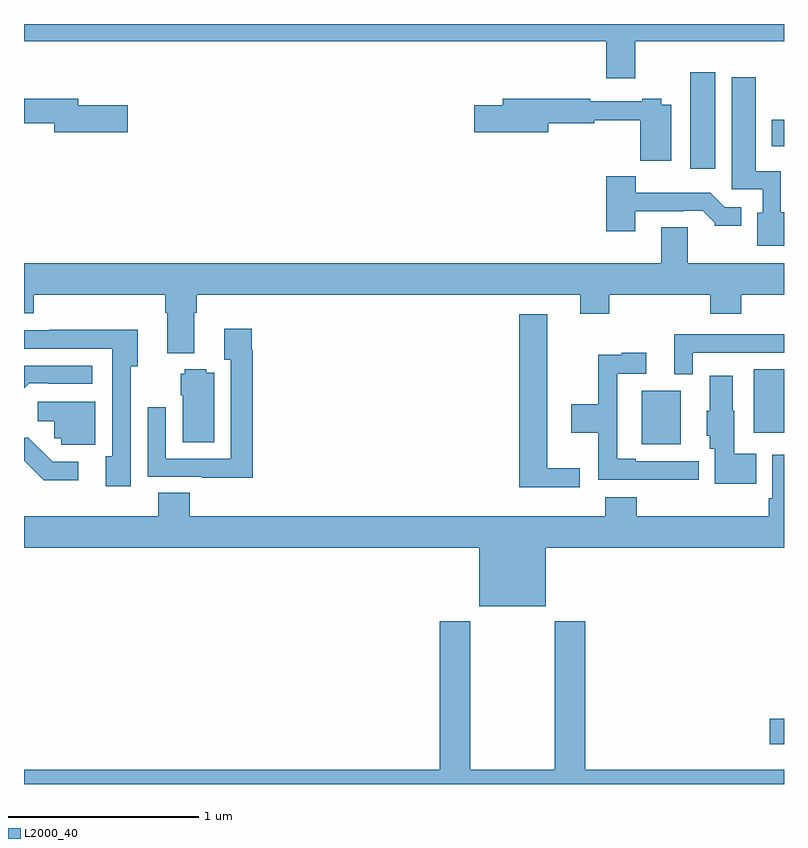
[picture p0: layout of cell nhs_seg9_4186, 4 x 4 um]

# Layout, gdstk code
import gdstk
lib = gdstk.Library(unit=1e-6, precision=1e-09)
def R(c, l, rs):  # rectangles x0, y0, x1, y1
    for r in rs: c.add(gdstk.rectangle(r[:2], r[2:], *l))
def P(c, l, *ps):  # polygons
    for p in ps: c.add(gdstk.Polygon(p, *l))
L2000_40 = (2000, 40)

nhs_seg9_4186 = lib.new_cell('nhs_seg9_4186')
R(nhs_seg9_4186, L2000_40, [(354.924,1204.709,355,1204.844), (354.251,1206.287,354.457,1206.571), (354.842,1206.35,355,1206.682), (354.506,1207.737,354.637,1208.245), (354.935,1207.856,355,1207.996)])
P(nhs_seg9_4186, L2000_40, [(354.217,1208.408),(355,1208.408),(355,1208.5),(351,1208.5),(351,1208.408),(354.065,1208.408),(354.065,1208.214),(354.217,1208.214)],
  [(355,1207.51),(354.984,1207.51),(354.984,1207.726),(354.85,1207.726),(354.85,1208.221),(354.725,1208.221),(354.725,1207.629),(354.888,1207.629),(354.888,1207.506),(354.86,1207.506),(354.86,1207.334),(355,1207.334)],
  [(351.547,1208.073),(351.286,1208.073),(351.286,1208.107),(351,1208.107),(351,1207.978),(351.158,1207.978),(351.158,1207.931),(351.547,1207.931)],
  [(354.406,1208.074),(354.354,1208.074),(354.354,1208.107),(354.254,1208.107),(354.254,1208.094),(353.981,1208.094),(353.981,1208.107),(353.519,1208.107),(353.519,1208.073),(353.37,1208.073),(353.37,1207.931),(353.758,1207.931),(353.758,1207.978),(354,1207.978),(354,1207.993),(354.244,1207.993),(354.244,1207.781),(354.406,1207.781)],
  [(354.217,1207.515),(354.473,1207.515),(354.473,1207.518),(354.572,1207.518),(354.636,1207.454),(354.636,1207.439),(354.775,1207.439),(354.775,1207.536),(354.687,1207.536),(354.611,1207.612),(354.22,1207.612),(354.22,1207.699),(354.065,1207.699),(354.065,1207.41),(354.217,1207.41)],
  [(351.895,1206.98),(351.908,1206.98),(351.908,1207.076),(353.927,1207.076),(353.927,1206.974),(354.08,1206.974),(354.08,1207.076),(354.611,1207.076),(354.611,1206.974),(354.776,1206.974),(354.776,1207.076),(355,1207.076),(355,1207.24),(354.493,1207.24),(354.493,1207.43),(354.353,1207.43),(354.353,1207.24),(351,1207.24),(351,1206.977),(351.05,1206.977),(351.05,1207.076),(351.743,1207.076),(351.743,1206.98),(351.755,1206.98),(351.755,1206.767),(351.895,1206.767)],
  [(353.926,1206.161),(353.755,1206.161),(353.755,1206.973),(353.606,1206.973),(353.606,1206.062),(353.926,1206.062)],
  [(352.205,1206.782),(352.198,1206.782),(352.198,1206.895),(352.055,1206.895),(352.055,1206.734),(352.089,1206.734),(352.089,1206.213),(351.747,1206.213),(351.747,1206.484),(351.651,1206.484),(351.651,1206.117),(351.935,1206.117),(351.935,1206.113),(352.205,1206.113)],
  [(351.561,1206.698),(351.598,1206.698),(351.598,1206.89),(351.133,1206.89),(351.133,1206.888),(351,1206.888),(351,1206.792),(351.465,1206.792),(351.465,1206.226),(351.431,1206.226),(351.431,1206.066),(351.561,1206.066)],
  [(354.519,1206.771),(355,1206.771),(355,1206.867),(354.422,1206.867),(354.422,1206.656),(354.519,1206.656)],
  [(354.55,1206.198),(354.22,1206.198),(354.22,1206.211),(354.123,1206.211),(354.123,1206.66),(354.274,1206.66),(354.274,1206.769),(354.146,1206.769),(354.146,1206.758),(354.022,1206.758),(354.022,1206.498),(353.88,1206.498),(353.88,1206.35),(354.022,1206.35),(354.022,1206.102),(354.307,1206.102),(354.307,1206.101),(354.55,1206.101)],
  [(351.027,1206.609),(351.127,1206.609),(351.127,1206.606),(351.358,1206.606),(351.358,1206.702),(351,1206.702),(351,1206.582)],
  [(352,1206.664),(351.96,1206.664),(351.96,1206.682),(351.846,1206.682),(351.846,1206.66),(351.824,1206.66),(351.824,1206.546),(351.836,1206.546),(351.836,1206.298),(352,1206.298)],
  [(354.854,1206.238),(354.739,1206.238),(354.739,1206.465),(354.73,1206.465),(354.73,1206.649),(354.608,1206.649),(354.608,1206.465),(354.593,1206.465),(354.593,1206.333),(354.608,1206.333),(354.608,1206.264),(354.635,1206.264),(354.635,1206.08),(354.854,1206.08)],
  [(351.376,1206.513),(351.072,1206.513),(351.072,1206.41),(351.159,1206.41),(351.159,1206.321),(351.195,1206.321),(351.195,1206.285),(351.376,1206.285)],
  [(351.286,1206.195),(351.15,1206.195),(351.023,1206.322),(351,1206.322),(351,1206.201),(351.104,1206.098),(351.286,1206.098)],
  [(353.746,1205.744),(355,1205.744),(355,1206.232),(354.939,1206.232),(354.939,1206.004),(354.919,1206.004),(354.919,1205.908),(354.224,1205.908),(354.224,1206.01),(354.059,1206.01),(354.059,1205.908),(351.872,1205.908),(351.872,1206.032),(351.707,1206.032),(351.707,1205.908),(351,1205.908),(351,1205.744),(353.396,1205.744),(353.396,1205.435),(353.746,1205.435)],
  [(355,1204.576),(353.954,1204.576),(353.954,1205.356),(353.794,1205.356),(353.794,1204.576),(353.349,1204.576),(353.349,1205.356),(353.189,1205.356),(353.189,1204.576),(351,1204.576),(351,1204.5),(355,1204.5)])

lib.write_gds('nhs_seg9_4186.gds')
